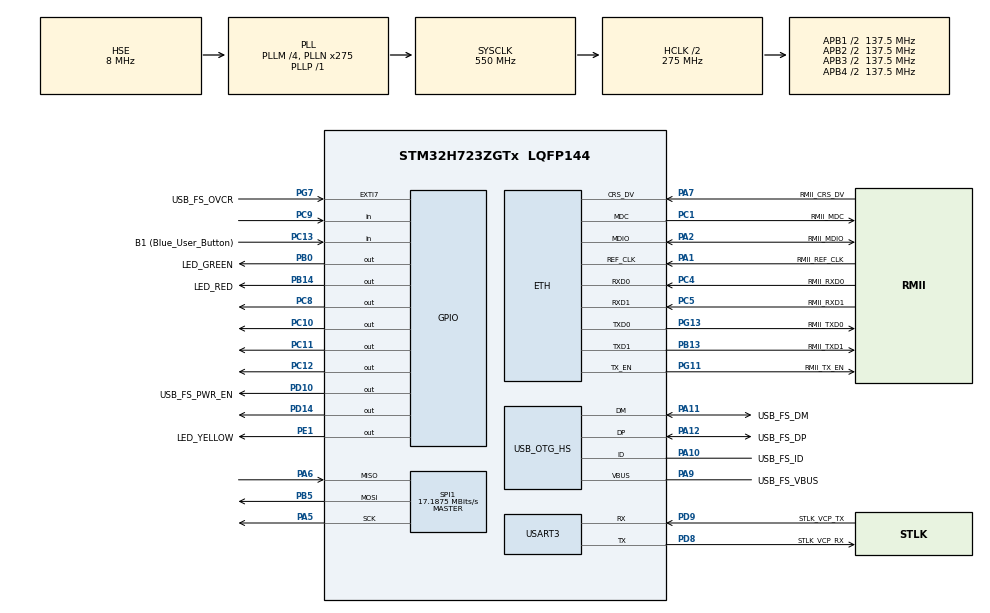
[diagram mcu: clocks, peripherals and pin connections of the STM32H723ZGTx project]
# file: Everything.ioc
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Dma.Request0=SPI1_RX
Dma.Request1=SPI1_TX
Dma.SPI1_RX.0.Direction=DMA_PERIPH_TO_MEMORY
Dma.SPI1_RX.0.EventEnable=DISABLE
Dma.SPI1_RX.0.FIFOMode=DMA_FIFOMODE_DISABLE
Dma.SPI1_RX.0.Instance=DMA1_Stream0
Dma.SPI1_RX.0.MemDataAlignment=DMA_MDATAALIGN_BYTE
Dma.SPI1_RX.0.MemInc=DMA_MINC_ENABLE
Dma.SPI1_RX.0.Mode=DMA_NORMAL
Dma.SPI1_RX.0.PeriphDataAlignment=DMA_PDATAALIGN_BYTE
Dma.SPI1_RX.0.PeriphInc=DMA_PINC_DISABLE
Dma.SPI1_RX.0.Polarity=HAL_DMAMUX_REQ_GEN_RISING
Dma.SPI1_RX.0.Priority=DMA_PRIORITY_LOW
Dma.SPI1_RX.0.RequestNumber=1
Dma.SPI1_RX.0.SignalID=NONE
Dma.SPI1_RX.0.SyncEnable=DISABLE
Dma.SPI1_RX.0.SyncPolarity=HAL_DMAMUX_SYNC_NO_EVENT
Dma.SPI1_RX.0.SyncRequestNumber=1
Dma.SPI1_RX.0.SyncSignalID=NONE
Dma.SPI1_TX.1.Direction=DMA_MEMORY_TO_PERIPH
Dma.SPI1_TX.1.EventEnable=DISABLE
Dma.SPI1_TX.1.FIFOMode=DMA_FIFOMODE_DISABLE
Dma.SPI1_TX.1.Instance=DMA1_Stream1
Dma.SPI1_TX.1.MemDataAlignment=DMA_MDATAALIGN_BYTE
Dma.SPI1_TX.1.MemInc=DMA_MINC_ENABLE
Dma.SPI1_TX.1.Mode=DMA_NORMAL
Dma.SPI1_TX.1.PeriphDataAlignment=DMA_PDATAALIGN_BYTE
Dma.SPI1_TX.1.PeriphInc=DMA_PINC_DISABLE
Dma.SPI1_TX.1.Polarity=HAL_DMAMUX_REQ_GEN_RISING
Dma.SPI1_TX.1.Priority=DMA_PRIORITY_LOW
Dma.SPI1_TX.1.RequestNumber=1
Dma.SPI1_TX.1.SignalID=NONE
Dma.SPI1_TX.1.SyncEnable=DISABLE
Dma.SPI1_TX.1.SyncPolarity=HAL_DMAMUX_SYNC_NO_EVENT
Dma.SPI1_TX.1.SyncRequestNumber=1
Dma.SPI1_TX.1.SyncSignalID=NONE
ETH.MediaInterface=HAL_ETH_RMII_MODE
FREERTOS.Tasks01=defaultTask,24,128,StartDefaultTask,Default,NULL,Dynamic,NULL,NULL
FREERTOS.configCHECK_FOR_STACK_OVERFLOW=2
FREERTOS.configTICK_RATE_HZ=1
FREERTOS.configUSE_NEWLIB_REENTRANT=1
Mcu.Family=STM32H7
Mcu.Name=STM32H723ZGTx
Mcu.Package=LQFP144
NVIC.DMA1_Stream0_IRQn=true\:5\:0\:false\:false\:true\:true\:false\:true\:true
NVIC.DMA1_Stream1_IRQn=true\:5\:0\:false\:false\:true\:true\:false\:true\:true
NVIC.PriorityGroup=NVIC_PRIORITYGROUP_4
NVIC.TIM1_UP_IRQn=true\:15\:0\:false\:false\:true\:false\:false\:true\:true
NVIC.TIM6_DAC_IRQn=true\:8\:0\:true\:false\:true\:true\:true\:true\:true
NVIC.TimeBase=TIM1_UP_IRQn
NVIC.TimeBaseIP=TIM1
PA1.GPIO_Label=RMII_REF_CLK
PA1.Mode=RMII
PA1.Signal=ETH_REF_CLK
PA10.GPIO_Label=USB_FS_ID
PA10.Mode=OTG/Dual-Role-Device-FS
PA10.Signal=USB_OTG_HS_ID
PA11.GPIO_Label=USB_FS_DM
PA11.Mode=OTG/Dual-Role-Device-FS
PA11.Signal=USB_OTG_HS_DM
PA12.GPIO_Label=USB_FS_DP
PA12.Mode=OTG/Dual-Role-Device-FS
PA12.Signal=USB_OTG_HS_DP
PA13(JTMS/SWDIO).GPIO_Label=SWDIO
PA13(JTMS/SWDIO).Mode=Trace_Asynchronous_SW
PA13(JTMS/SWDIO).Signal=DEBUG_JTMS-SWDIO
PA14(JTCK/SWCLK).GPIO_Label=SWCLK
PA14(JTCK/SWCLK).Mode=Trace_Asynchronous_SW
PA14(JTCK/SWCLK).Signal=DEBUG_JTCK-SWCLK
PA2.GPIO_Label=RMII_MDIO
PA2.Mode=RMII
PA2.Signal=ETH_MDIO
PA5.Mode=Full_Duplex_Master
PA5.Signal=SPI1_SCK
PA6.GPIO_PuPd=GPIO_PULLUP
PA6.Mode=Full_Duplex_Master
PA6.Signal=SPI1_MISO
PA7.GPIO_Label=RMII_CRS_DV
PA7.Mode=RMII
PA7.Signal=ETH_CRS_DV
PA9.GPIO_Label=USB_FS_VBUS
PA9.Mode=Activate_VBUS_FS
PA9.Signal=USB_OTG_HS_VBUS
PB0.GPIO_Label=LED_GREEN
PB0.Signal=GPIO_Output
PB13.GPIO_Label=RMII_TXD1
PB13.Mode=RMII
PB13.Signal=ETH_TXD1
PB14.GPIO_Label=LED_RED
PB14.Signal=GPIO_Output
PB3(JTDO/TRACESWO).GPIO_Label=SWO
PB3(JTDO/TRACESWO).Mode=Trace_Asynchronous_SW
PB3(JTDO/TRACESWO).Signal=DEBUG_JTDO-SWO
PB5.Mode=Full_Duplex_Master
PB5.Signal=SPI1_MOSI
PC1.GPIO_Label=RMII_MDC
PC1.Mode=RMII
PC1.Signal=ETH_MDC
PC10.GPIO_Speed=GPIO_SPEED_FREQ_VERY_HIGH
PC10.PinState=GPIO_PIN_SET
PC10.Signal=GPIO_Output
PC11.GPIO_Speed=GPIO_SPEED_FREQ_VERY_HIGH
PC11.PinState=GPIO_PIN_SET
PC11.Signal=GPIO_Output
PC12.GPIO_Speed=GPIO_SPEED_FREQ_VERY_HIGH
PC12.PinState=GPIO_PIN_SET
PC12.Signal=GPIO_Output
PC13.GPIO_Label=B1 (Blue_User_Button)
PC13.Signal=GPIO_Input
PC14-OSC32_IN.Mode=LSE-External-Oscillator
PC14-OSC32_IN.Signal=RCC_OSC32_IN
PC15-OSC32_OUT.Mode=LSE-External-Oscillator
PC15-OSC32_OUT.Signal=RCC_OSC32_OUT
PC4.GPIO_Label=RMII_RXD0
PC4.Mode=RMII
PC4.Signal=ETH_RXD0
PC5.GPIO_Label=RMII_RXD1
PC5.Mode=RMII
PC5.Signal=ETH_RXD1
PC8.GPIO_Speed=GPIO_SPEED_FREQ_VERY_HIGH
PC8.PinState=GPIO_PIN_SET
PC8.Signal=GPIO_Output
PC9.Signal=GPIO_Input
PD10.GPIO_Label=USB_FS_PWR_EN
PD10.Signal=GPIO_Output
PD14.Signal=GPIO_Output
PD8.GPIO_Label=STLK_VCP_RX
PD8.Mode=Asynchronous
PD8.Signal=USART3_TX
PD9.GPIO_Label=STLK_VCP_TX
PD9.Mode=Asynchronous
PD9.Signal=USART3_RX
PE1.GPIO_Label=LED_YELLOW
PE1.Signal=GPIO_Output
PG11.GPIO_Label=RMII_TX_EN
PG11.Mode=RMII
PG11.Signal=ETH_TX_EN
PG13.GPIO_Label=RMII_TXD0
PG13.Mode=RMII
PG13.Signal=ETH_TXD0
PG7.GPIO_Label=USB_FS_OVCR
PG7.Signal=GPXTI7
PH0-OSC_IN.GPIO_Label=MCO
PH0-OSC_IN.Mode=HSE-External-Clock-Source
PH0-OSC_IN.Signal=RCC_OSC_IN
PH1-OSC_OUT.Signal=RCC_OSC_OUT
ProjectManager.HeapSize=0x200
ProjectManager.StackSize=0x400
ProjectManager.TargetToolchain=STM32CubeIDE
RCC.ADCFreq_Value=76000000
RCC.APB1Freq_Value=137500000
RCC.APB2Freq_Value=137500000
RCC.APB3Freq_Value=137500000
RCC.APB4Freq_Value=137500000
RCC.CortexFreq_Value=550000000
RCC.D1PPRE=RCC_APB3_DIV2
RCC.D2PPRE1=RCC_APB1_DIV2
RCC.D2PPRE2=RCC_APB2_DIV2
RCC.D3PPRE=RCC_APB4_DIV2
RCC.DIVM1=4
RCC.DIVM2=1
RCC.DIVN1=275
RCC.DIVN2=19
RCC.DIVP1=1
RCC.DIVQ1=4
RCC.HCLKFreq_Value=275000000
RCC.HPRE=RCC_HCLK_DIV2
RCC.HSE_VALUE=8000000
RCC.PLLFRACN=0
RCC.PLLSourceVirtual=RCC_PLLSOURCE_HSE
RCC.SYSCLKFreq_VALUE=550000000
RCC.SYSCLKSource=RCC_SYSCLKSOURCE_PLLCLK
RCC.USBCLockSelection=RCC_USBCLKSOURCE_HSI48
RCC.USBFreq_Value=48000000
SPI1.BaudRatePrescaler=SPI_BAUDRATEPRESCALER_8
SPI1.CalculateBaudRate=17.1875 MBits/s
SPI1.DataSize=SPI_DATASIZE_8BIT
SPI1.Direction=SPI_DIRECTION_2LINES
SPI1.Mode=SPI_MODE_MASTER
SPI1.VirtualType=VM_MASTER
TIM6.Period=26
TIM6.Prescaler=255
USART3.VirtualMode-Asynchronous=VM_ASYNC
VP_FREERTOS_VS_CMSIS_V2.Mode=CMSIS_V2
VP_SYS_VS_tim1.Mode=TIM1
VP_TIM6_VS_ClockSourceINT.Mode=Enable_Timer
board=NUCLEO-H723ZG

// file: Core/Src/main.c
/* USER CODE BEGIN Header */
/**
 ******************************************************************************
 * @file           : main.c
 * @brief          : Main program body
 ******************************************************************************
 * @attention
 *
 * Copyright (c) 2022 STMicroelectronics.
 * All rights reserved.
 *
 * This software is licensed under terms that can be found in the LICENSE file
 * in the root directory of this software component.
 * If no LICENSE file comes with this software, it is provided AS-IS.
 *
 ******************************************************************************
 */
/* USER CODE END Header */
#include "main.h"
#include "string.h"
#include "cmsis_os.h"

/* USER CODE BEGIN Includes */
#include "sdCardTask.h"
/* USER CODE END Includes */

#if defined ( __ICCARM__ ) /*!< IAR Compiler */
#pragma location=0x30000000
ETH_DMADescTypeDef  DMARxDscrTab[ETH_RX_DESC_CNT]; /* Ethernet Rx DMA Descriptors */
#pragma location=0x30000200
ETH_DMADescTypeDef  DMATxDscrTab[ETH_TX_DESC_CNT]; /* Ethernet Tx DMA Descriptors */
#pragma location=0x30000260
uint8_t Rx_Buff[ETH_RX_DESC_CNT][ETH_MAX_PACKET_SIZE]; /* Ethernet Receive Buffers */

#elif defined ( __CC_ARM )  /* MDK ARM Compiler */

__attribute__((at(0x30000000))) ETH_DMADescTypeDef  DMARxDscrTab[ETH_RX_DESC_CNT]; /* Ethernet Rx DMA Descriptors */
__attribute__((at(0x30000200))) ETH_DMADescTypeDef  DMATxDscrTab[ETH_TX_DESC_CNT]; /* Ethernet Tx DMA Descriptors */
__attribute__((at(0x30000260))) uint8_t Rx_Buff[ETH_RX_DESC_CNT][ETH_MAX_PACKET_SIZE]; /* Ethernet Receive Buffer */

#elif defined ( __GNUC__ ) /* GNU Compiler */
ETH_DMADescTypeDef DMARxDscrTab[ETH_RX_DESC_CNT] __attribute__((section(".RxDecripSection"))); /* Ethernet Rx DMA Descriptors */
ETH_DMADescTypeDef DMATxDscrTab[ETH_TX_DESC_CNT] __attribute__((section(".TxDecripSection")));   /* Ethernet Tx DMA Descriptors */
uint8_t Rx_Buff[ETH_RX_DESC_CNT][ETH_MAX_PACKET_SIZE] __attribute__((section(".RxArraySection"))); /* Ethernet Receive Buffers */
#endif

ETH_TxPacketConfig TxConfig;

ETH_HandleTypeDef heth;

SPI_HandleTypeDef hspi1;
DMA_HandleTypeDef hdma_spi1_rx;
DMA_HandleTypeDef hdma_spi1_tx;

TIM_HandleTypeDef htim6;

UART_HandleTypeDef huart3;

/* Definitions for defaultTask */
osThreadId_t defaultTaskHandle;
const osThreadAttr_t defaultTask_attributes = {
  .name = "defaultTask",
  .stack_size = 128 * 4,
  .priority = (osPriority_t) osPriorityNormal,
};
/* USER CODE BEGIN PV */
osThreadId_t readAdcTaskHandle;
const osThreadAttr_t readAdcTaskAttributes = { .name = "readAdcTask",
		.stack_size = 128 * 4, .priority = (osPriority_t) osPriorityRealtime6, };
osThreadId_t sdCardTaskHandle;
const osThreadAttr_t sdCardTaskAttributes = { .name = "sdCardTask",
		.stack_size = 128 * 16, .priority = (osPriority_t) osPriorityHigh1, };
// Used by the interrupt to determine which task should be woken up.
int scheduleCounter;
int initialized;
/* USER CODE END PV */

void SystemClock_Config(void);
static void MX_GPIO_Init(void);
static void MX_ETH_Init(void);
static void MX_USART3_UART_Init(void);
static void MX_USB_OTG_HS_USB_Init(void);
static void MX_DMA_Init(void);
static void MX_SPI1_Init(void);
static void MX_TIM6_Init(void);
void StartDefaultTask(void *argument);

/* USER CODE BEGIN PFP */
void readAdcTask(void *argument);
/* USER CODE END PFP */

int main(void)
{
  /* USER CODE BEGIN 1 */
	initialized = 0;
	scheduleCounter = 0;
  /* USER CODE END 1 */

  /* MCU Configuration--------------------------------------------------------*/

  /* Reset of all peripherals, Initializes the Flash interface and the Systick. */
  HAL_Init();

  /* Configure the system clock */
  SystemClock_Config();

  /* Initialize all configured peripherals */
  MX_GPIO_Init();
  MX_ETH_Init();
  MX_USART3_UART_Init();
  MX_USB_OTG_HS_USB_Init();
  MX_DMA_Init();
  MX_SPI1_Init();
  MX_TIM6_Init();
  /* USER CODE BEGIN 2 */
	HAL_TIM_Base_Start_IT(&htim6);
	NVIC_SetPriorityGrouping(0);
  /* USER CODE END 2 */

  /* Init scheduler */
  osKernelInitialize();

  /* Create the thread(s) */
  /* creation of defaultTask */
  defaultTaskHandle = osThreadNew(StartDefaultTask, NULL, &defaultTask_attributes);

  /* USER CODE BEGIN RTOS_THREADS */
	readAdcTaskHandle = osThreadNew(readAdcTask, NULL, &readAdcTaskAttributes);
	sdCardTaskHandle = osThreadNew(sdCardTask, NULL, &sdCardTaskAttributes);
  /* USER CODE END RTOS_THREADS */

  /* USER CODE BEGIN RTOS_EVENTS */
	/* add events, ... */
	initialized = 1;
  /* USER CODE END RTOS_EVENTS */

  /* Start scheduler */
  osKernelStart();

  /* We should never get here as control is now taken by the scheduler */
  /* Infinite loop */
	while (1) {

	}
}

void SystemClock_Config(void)
{
  RCC_OscInitTypeDef RCC_OscInitStruct = {0};
  RCC_ClkInitTypeDef RCC_ClkInitStruct = {0};

  /** Supply configuration update enable
  */
  HAL_PWREx_ConfigSupply(PWR_LDO_SUPPLY);

  /** Configure the main internal regulator output voltage
  */
  __HAL_PWR_VOLTAGESCALING_CONFIG(PWR_REGULATOR_VOLTAGE_SCALE0);

  while(!__HAL_PWR_GET_FLAG(PWR_FLAG_VOSRDY)) {}

  /** Initializes the RCC Oscillators according to the specified parameters
  * in the RCC_OscInitTypeDef structure.
  */
  RCC_OscInitStruct.OscillatorType = RCC_OSCILLATORTYPE_HSI48|RCC_OSCILLATORTYPE_HSE;
  RCC_OscInitStruct.HSEState = RCC_HSE_BYPASS;
  RCC_OscInitStruct.HSI48State = RCC_HSI48_ON;
  RCC_OscInitStruct.PLL.PLLState = RCC_PLL_ON;
  RCC_OscInitStruct.PLL.PLLSource = RCC_PLLSOURCE_HSE;
  RCC_OscInitStruct.PLL.PLLM = 4;
  RCC_OscInitStruct.PLL.PLLN = 275;
  RCC_OscInitStruct.PLL.PLLP = 1;
  RCC_OscInitStruct.PLL.PLLQ = 4;
  RCC_OscInitStruct.PLL.PLLR = 2;
  RCC_OscInitStruct.PLL.PLLRGE = RCC_PLL1VCIRANGE_1;
  RCC_OscInitStruct.PLL.PLLVCOSEL = RCC_PLL1VCOWIDE;
  RCC_OscInitStruct.PLL.PLLFRACN = 0;
  if (HAL_RCC_OscConfig(&RCC_OscInitStruct) != HAL_OK)
  {
    Error_Handler();
  }

  /** Initializes the CPU, AHB and APB buses clocks
  */
  RCC_ClkInitStruct.ClockType = RCC_CLOCKTYPE_HCLK|RCC_CLOCKTYPE_SYSCLK
                              |RCC_CLOCKTYPE_PCLK1|RCC_CLOCKTYPE_PCLK2
                              |RCC_CLOCKTYPE_D3PCLK1|RCC_CLOCKTYPE_D1PCLK1;
  RCC_ClkInitStruct.SYSCLKSource = RCC_SYSCLKSOURCE_PLLCLK;
  RCC_ClkInitStruct.SYSCLKDivider = RCC_SYSCLK_DIV1;
  RCC_ClkInitStruct.AHBCLKDivider = RCC_HCLK_DIV2;
  RCC_ClkInitStruct.APB3CLKDivider = RCC_APB3_DIV2;
  RCC_ClkInitStruct.APB1CLKDivider = RCC_APB1_DIV2;
  RCC_ClkInitStruct.APB2CLKDivider = RCC_APB2_DIV2;
  RCC_ClkInitStruct.APB4CLKDivider = RCC_APB4_DIV2;

  if (HAL_RCC_ClockConfig(&RCC_ClkInitStruct, FLASH_LATENCY_3) != HAL_OK)
  {
    Error_Handler();
  }
}

static void MX_ETH_Init(void)
{

   static uint8_t MACAddr[6];

  heth.Instance = ETH;
  MACAddr[0] = 0x00;
  MACAddr[1] = 0x80;
  MACAddr[2] = 0xE1;
  MACAddr[3] = 0x00;
  MACAddr[4] = 0x00;
  MACAddr[5] = 0x00;
  heth.Init.MACAddr = &MACAddr[0];
  heth.Init.MediaInterface = HAL_ETH_RMII_MODE;
  heth.Init.TxDesc = DMATxDscrTab;
  heth.Init.RxDesc = DMARxDscrTab;
  heth.Init.RxBuffLen = 1524;

  if (HAL_ETH_Init(&heth) != HAL_OK)
  {
    Error_Handler();
  }

  memset(&TxConfig, 0 , sizeof(ETH_TxPacketConfig));
  TxConfig.Attributes = ETH_TX_PACKETS_FEATURES_CSUM | ETH_TX_PACKETS_FEATURES_CRCPAD;
  TxConfig.ChecksumCtrl = ETH_CHECKSUM_IPHDR_PAYLOAD_INSERT_PHDR_CALC;
  TxConfig.CRCPadCtrl = ETH_CRC_PAD_INSERT;

}

static void MX_SPI1_Init(void)
{

  /* SPI1 parameter configuration*/
  hspi1.Instance = SPI1;
  hspi1.Init.Mode = SPI_MODE_MASTER;
  hspi1.Init.Direction = SPI_DIRECTION_2LINES;
  hspi1.Init.DataSize = SPI_DATASIZE_8BIT;
  hspi1.Init.CLKPolarity = SPI_POLARITY_LOW;
  hspi1.Init.CLKPhase = SPI_PHASE_1EDGE;
  hspi1.Init.NSS = SPI_NSS_SOFT;
  hspi1.Init.BaudRatePrescaler = SPI_BAUDRATEPRESCALER_8;
  hspi1.Init.FirstBit = SPI_FIRSTBIT_MSB;
  hspi1.Init.TIMode = SPI_TIMODE_DISABLE;
  hspi1.Init.CRCCalculation = SPI_CRCCALCULATION_DISABLE;
  hspi1.Init.CRCPolynomial = 0x0;
  hspi1.Init.NSSPMode = SPI_NSS_PULSE_ENABLE;
  hspi1.Init.NSSPolarity = SPI_NSS_POLARITY_LOW;
  hspi1.Init.FifoThreshold = SPI_FIFO_THRESHOLD_01DATA;
  hspi1.Init.TxCRCInitializationPattern = SPI_CRC_INITIALIZATION_ALL_ZERO_PATTERN;
  hspi1.Init.RxCRCInitializationPattern = SPI_CRC_INITIALIZATION_ALL_ZERO_PATTERN;
  hspi1.Init.MasterSSIdleness = SPI_MASTER_SS_IDLENESS_00CYCLE;
  hspi1.Init.MasterInterDataIdleness = SPI_MASTER_INTERDATA_IDLENESS_00CYCLE;
  hspi1.Init.MasterReceiverAutoSusp = SPI_MASTER_RX_AUTOSUSP_DISABLE;
  hspi1.Init.MasterKeepIOState = SPI_MASTER_KEEP_IO_STATE_DISABLE;
  hspi1.Init.IOSwap = SPI_IO_SWAP_DISABLE;
  if (HAL_SPI_Init(&hspi1) != HAL_OK)
  {
    Error_Handler();
  }

}

static void MX_TIM6_Init(void)
{

  TIM_MasterConfigTypeDef sMasterConfig = {0};

  htim6.Instance = TIM6;
  htim6.Init.Prescaler = 255;
  htim6.Init.CounterMode = TIM_COUNTERMODE_UP;
  htim6.Init.Period = 26;
  htim6.Init.AutoReloadPreload = TIM_AUTORELOAD_PRELOAD_DISABLE;
  if (HAL_TIM_Base_Init(&htim6) != HAL_OK)
  {
    Error_Handler();
  }
  sMasterConfig.MasterOutputTrigger = TIM_TRGO_RESET;
  sMasterConfig.MasterSlaveMode = TIM_MASTERSLAVEMODE_DISABLE;
  if (HAL_TIMEx_MasterConfigSynchronization(&htim6, &sMasterConfig) != HAL_OK)
  {
    Error_Handler();
  }

}

static void MX_USART3_UART_Init(void)
{

  huart3.Instance = USART3;
  huart3.Init.BaudRate = 115200;
  huart3.Init.WordLength = UART_WORDLENGTH_8B;
  huart3.Init.StopBits = UART_STOPBITS_1;
  huart3.Init.Parity = UART_PARITY_NONE;
  huart3.Init.Mode = UART_MODE_TX_RX;
  huart3.Init.HwFlowCtl = UART_HWCONTROL_NONE;
  huart3.Init.OverSampling = UART_OVERSAMPLING_16;
  huart3.Init.OneBitSampling = UART_ONE_BIT_SAMPLE_DISABLE;
  huart3.Init.ClockPrescaler = UART_PRESCALER_DIV1;
  huart3.AdvancedInit.AdvFeatureInit = UART_ADVFEATURE_NO_INIT;
  if (HAL_UART_Init(&huart3) != HAL_OK)
  {
    Error_Handler();
  }
  if (HAL_UARTEx_SetTxFifoThreshold(&huart3, UART_TXFIFO_THRESHOLD_1_8) != HAL_OK)
  {
    Error_Handler();
  }
  if (HAL_UARTEx_SetRxFifoThreshold(&huart3, UART_RXFIFO_THRESHOLD_1_8) != HAL_OK)
  {
    Error_Handler();
  }
  if (HAL_UARTEx_DisableFifoMode(&huart3) != HAL_OK)
  {
    Error_Handler();
  }

}

static void MX_USB_OTG_HS_USB_Init(void)
{

}

static void MX_DMA_Init(void)
{

  /* DMA controller clock enable */
  __HAL_RCC_DMA1_CLK_ENABLE();

  /* DMA interrupt init */
  /* DMA1_Stream0_IRQn interrupt configuration */
  HAL_NVIC_SetPriority(DMA1_Stream0_IRQn, 5, 0);
  HAL_NVIC_EnableIRQ(DMA1_Stream0_IRQn);
  /* DMA1_Stream1_IRQn interrupt configuration */
  HAL_NVIC_SetPriority(DMA1_Stream1_IRQn, 5, 0);
  HAL_NVIC_EnableIRQ(DMA1_Stream1_IRQn);

}

static void MX_GPIO_Init(void)
{
  GPIO_InitTypeDef GPIO_InitStruct = {0};

  /* GPIO Ports Clock Enable */
  __HAL_RCC_GPIOC_CLK_ENABLE();
  __HAL_RCC_GPIOH_CLK_ENABLE();
  __HAL_RCC_GPIOA_CLK_ENABLE();
  __HAL_RCC_GPIOB_CLK_ENABLE();
  __HAL_RCC_GPIOD_CLK_ENABLE();
  __HAL_RCC_GPIOG_CLK_ENABLE();
  __HAL_RCC_GPIOE_CLK_ENABLE();

  /*Configure GPIO pin Output Level */
  HAL_GPIO_WritePin(GPIOB, LED_GREEN_Pin|LED_RED_Pin, GPIO_PIN_RESET);

  /*Configure GPIO pin Output Level */
  HAL_GPIO_WritePin(GPIOD, USB_FS_PWR_EN_Pin|GPIO_PIN_14, GPIO_PIN_RESET);

  /*Configure GPIO pin Output Level */
  HAL_GPIO_WritePin(GPIOC, GPIO_PIN_8|GPIO_PIN_10|GPIO_PIN_11|GPIO_PIN_12, GPIO_PIN_SET);

  /*Configure GPIO pin Output Level */
  HAL_GPIO_WritePin(LED_YELLOW_GPIO_Port, LED_YELLOW_Pin, GPIO_PIN_RESET);

  /*Configure GPIO pins : B1_Pin PC9 */
  GPIO_InitStruct.Pin = B1_Pin|GPIO_PIN_9;
  GPIO_InitStruct.Mode = GPIO_MODE_INPUT;
  GPIO_InitStruct.Pull = GPIO_NOPULL;
  HAL_GPIO_Init(GPIOC, &GPIO_InitStruct);

  /*Configure GPIO pins : LED_GREEN_Pin LED_RED_Pin */
  GPIO_InitStruct.Pin = LED_GREEN_Pin|LED_RED_Pin;
  GPIO_InitStruct.Mode = GPIO_MODE_OUTPUT_PP;
  GPIO_InitStruct.Pull = GPIO_NOPULL;
  GPIO_InitStruct.Speed = GPIO_SPEED_FREQ_LOW;
  HAL_GPIO_Init(GPIOB, &GPIO_InitStruct);

  /*Configure GPIO pins : USB_FS_PWR_EN_Pin PD14 */
  GPIO_InitStruct.Pin = USB_FS_PWR_EN_Pin|GPIO_PIN_14;
  GPIO_InitStruct.Mode = GPIO_MODE_OUTPUT_PP;
  GPIO_InitStruct.Pull = GPIO_NOPULL;
  GPIO_InitStruct.Speed = GPIO_SPEED_FREQ_LOW;
  HAL_GPIO_Init(GPIOD, &GPIO_InitStruct);

  /*Configure GPIO pin : USB_FS_OVCR_Pin */
  GPIO_InitStruct.Pin = USB_FS_OVCR_Pin;
  GPIO_InitStruct.Mode = GPIO_MODE_IT_RISING;
  GPIO_InitStruct.Pull = GPIO_NOPULL;
  HAL_GPIO_Init(USB_FS_OVCR_GPIO_Port, &GPIO_InitStruct);

  /*Configure GPIO pins : PC8 PC10 PC11 PC12 */
  GPIO_InitStruct.Pin = GPIO_PIN_8|GPIO_PIN_10|GPIO_PIN_11|GPIO_PIN_12;
  GPIO_InitStruct.Mode = GPIO_MODE_OUTPUT_PP;
  GPIO_InitStruct.Pull = GPIO_NOPULL;
  GPIO_InitStruct.Speed = GPIO_SPEED_FREQ_VERY_HIGH;
  HAL_GPIO_Init(GPIOC, &GPIO_InitStruct);

  /*Configure GPIO pin : USB_FS_VBUS_Pin */
  GPIO_InitStruct.Pin = USB_FS_VBUS_Pin;
  GPIO_InitStruct.Mode = GPIO_MODE_INPUT;
  GPIO_InitStruct.Pull = GPIO_NOPULL;
  HAL_GPIO_Init(USB_FS_VBUS_GPIO_Port, &GPIO_InitStruct);

  /*Configure GPIO pin : USB_FS_ID_Pin */
  GPIO_InitStruct.Pin = USB_FS_ID_Pin;
  GPIO_InitStruct.Mode = GPIO_MODE_AF_PP;
  GPIO_InitStruct.Pull = GPIO_NOPULL;
  GPIO_InitStruct.Speed = GPIO_SPEED_FREQ_LOW;
  GPIO_InitStruct.Alternate = GPIO_AF10_OTG1_HS;
  HAL_GPIO_Init(USB_FS_ID_GPIO_Port, &GPIO_InitStruct);

  /*Configure GPIO pin : LED_YELLOW_Pin */
  GPIO_InitStruct.Pin = LED_YELLOW_Pin;
  GPIO_InitStruct.Mode = GPIO_MODE_OUTPUT_PP;
  GPIO_InitStruct.Pull = GPIO_NOPULL;
  GPIO_InitStruct.Speed = GPIO_SPEED_FREQ_LOW;
  HAL_GPIO_Init(LED_YELLOW_GPIO_Port, &GPIO_InitStruct);

}

/* USER CODE BEGIN 4 */
void notifyTaskFromIrq(TaskHandle_t xTaskToNotify) {
	BaseType_t xHigherPriorityTaskWoken = pdFALSE;
	vTaskNotifyGiveFromISR(xTaskToNotify, &xHigherPriorityTaskWoken);
	portYIELD_FROM_ISR(xHigherPriorityTaskWoken);
}

// 70 bytes, a multiple of 7 for compatibility with appendDataFrame. The first byte is a tag specifying which kind of data frame it is.
uint16_t adcData[35] = { 1, 0 };

#define ADC_PORT GPIOC
#define ADC_CONVST_PIN GPIO_PIN_8
#define ADC_DOUTA_PIN GPIO_PIN_9
#define ADC_RESET_PIN GPIO_PIN_10
#define ADC_SCLK_PIN GPIO_PIN_11
#define ADC_CS_PIN GPIO_PIN_12
#define ADC_NUM_CHANNELS 8
#define ADC_BITS_PER_CHANNEL 16

void resetAdc() {
	HAL_GPIO_WritePin(ADC_PORT, ADC_CS_PIN, GPIO_PIN_SET);
	HAL_GPIO_WritePin(ADC_PORT, ADC_SCLK_PIN, GPIO_PIN_SET);
	HAL_GPIO_WritePin(ADC_PORT, ADC_RESET_PIN, GPIO_PIN_SET);
	for (int i = 0; i < 64; i++) {
	}
	HAL_GPIO_WritePin(ADC_PORT, ADC_RESET_PIN, GPIO_PIN_RESET);
}

// Asks the ADC to start converting its inputs to digital values.
void requestAdcStartConverting() {
	HAL_GPIO_WritePin(ADC_PORT, ADC_CONVST_PIN, GPIO_PIN_RESET);
	for (int i = 0; i < 64; i++) {
	}
	HAL_GPIO_WritePin(ADC_PORT, ADC_CONVST_PIN, GPIO_PIN_SET);
}

void readDataFromAdc() {
	HAL_GPIO_WritePin(ADC_PORT, ADC_CS_PIN, GPIO_PIN_RESET);
	for (int channel = 0; channel < ADC_NUM_CHANNELS; channel++) {
		adcData[1 + channel] = 0;
		for (int bit = 0; bit < ADC_BITS_PER_CHANNEL; bit++) {
			HAL_GPIO_WritePin(ADC_PORT, ADC_SCLK_PIN, GPIO_PIN_RESET);
			adcData[1 + channel] <<= 1;
			adcData[1 + channel] |=
					HAL_GPIO_ReadPin(ADC_PORT, ADC_DOUTA_PIN) == GPIO_PIN_SET ?
							1 : 0;
			HAL_GPIO_WritePin(ADC_PORT, ADC_SCLK_PIN, GPIO_PIN_SET);
			for (int i = 0; i < 2; i++) {
			}
		}
	}
	HAL_GPIO_WritePin(ADC_PORT, ADC_CS_PIN, GPIO_PIN_SET);
}

void readAdcTask(void *argument) {
	resetAdc();
	for (;;) {
		requestAdcStartConverting();
		// Wait for the interrupt to say it's our time to resume again.
		ulTaskNotifyTake(pdTRUE, 1000);
		readDataFromAdc();
		appendDataFrame(&adcData[0], 70);
	}
}

void spiSend(uint8_t byte) {
	HAL_SPI_Transmit(&hspi1, &byte, 1, 1000);
}

void spiSendMulti(const uint8_t *bytes, uint16_t size) {
	HAL_SPI_Transmit(&hspi1, bytes, size, 1000);
}

uint8_t spiRecv() {
	uint8_t result = 0xFF;
	HAL_SPI_Receive(&hspi1, &result, 1, 1000);
	return result;
}

void spiRecvMulti(uint8_t *bytes, uint16_t size) {
	HAL_SPI_Receive(&hspi1, bytes, size, 1000);
}

void chipSelectLow() {
	HAL_GPIO_WritePin(GPIOD, GPIO_PIN_14, GPIO_PIN_RESET);
}

void chipSelectHigh() {
	HAL_GPIO_WritePin(GPIOD, GPIO_PIN_14, GPIO_PIN_SET);
}
/* USER CODE END 4 */

void StartDefaultTask(void *argument)
{
  /* USER CODE BEGIN 5 */
	/* Infinite loop */
	for (;;) {
		osDelay(1000);
	}
  /* USER CODE END 5 */
}

void HAL_TIM_PeriodElapsedCallback(TIM_HandleTypeDef *htim)
{
  if (htim->Instance == TIM1) {
    HAL_IncTick();
  }
  /* USER CODE BEGIN Callback 1 */
	if (htim == &htim6 && initialized) {
		// % 1 is 40kHz
		// % 20 is 2kHz
		// % 40 is 1kHz
		// % 400 is 100Hz
		if (scheduleCounter % 20 == 1)
			notifyTaskFromIrq(readAdcTaskHandle);
		if (scheduleCounter % 40 == 2)
			notifyTaskFromIrq(sdCardTaskHandle);
		scheduleCounter = (scheduleCounter + 1) % (40 * 1000);
	}
  /* USER CODE END Callback 1 */
}

void Error_Handler(void)
{
  /* USER CODE BEGIN Error_Handler_Debug */
	__disable_irq();
	while (1) {
		HAL_GPIO_WritePin(LED_RED_GPIO_Port, LED_RED_Pin, GPIO_PIN_SET);
		// We cannot use HAL_Delay because we disabled interrupts.
		for (int i = 0; i < 4 * 1024 * 1024; i++) {
		}
		HAL_GPIO_WritePin(LED_RED_GPIO_Port, LED_RED_Pin, GPIO_PIN_RESET);
		for (int i = 0; i < 4 * 1024 * 1024; i++) {
		}
	}
  /* USER CODE END Error_Handler_Debug */
}

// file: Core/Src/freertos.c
/* USER CODE BEGIN Header */
/**
  ******************************************************************************
  * File Name          : freertos.c
  * Description        : Code for freertos applications
  ******************************************************************************
  * @attention
  *
  * Copyright (c) 2022 STMicroelectronics.
  * All rights reserved.
  *
  * This software is licensed under terms that can be found in the LICENSE file
  * in the root directory of this software component.
  * If no LICENSE file comes with this software, it is provided AS-IS.
  *
  ******************************************************************************
  */
/* USER CODE END Header */

#include "FreeRTOS.h"
#include "task.h"
#include "main.h"

/* Hook prototypes */
void vApplicationStackOverflowHook(xTaskHandle xTask, signed char *pcTaskName);

/* USER CODE BEGIN 4 */
void vApplicationStackOverflowHook(xTaskHandle xTask, signed char *pcTaskName)
{
   /* Run time stack overflow checking is performed if
   configCHECK_FOR_STACK_OVERFLOW is defined to 1 or 2. This hook function is
   called if a stack overflow is detected. */
}
/* USER CODE END 4 */
